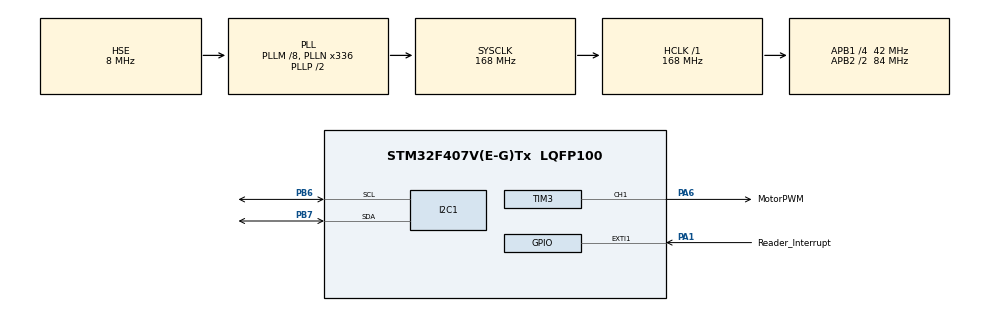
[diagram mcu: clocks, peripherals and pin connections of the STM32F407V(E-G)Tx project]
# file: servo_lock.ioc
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I2C1.I2C_Mode=I2C_Standard
Mcu.Family=STM32F4
Mcu.Name=STM32F407V(E-G)Tx
Mcu.Package=LQFP100
NVIC.EXTI1_IRQn=true\:0\:0\:false\:false\:true\:true\:true\:true
NVIC.PriorityGroup=NVIC_PRIORITYGROUP_0
PA1.GPIO_Label=Reader_Interrupt
PA1.Signal=GPXTI1
PA6.GPIO_Label=MotorPWM
PA6.GPIO_ModeDefaultPP=GPIO_MODE_AF_PP
PA6.Signal=S_TIM3_CH1
PB6.Mode=I2C
PB6.Signal=I2C1_SCL
PB7.Mode=I2C
PB7.Signal=I2C1_SDA
PC14-OSC32_IN.Mode=LSE-External-Oscillator
PC14-OSC32_IN.Signal=RCC_OSC32_IN
PC15-OSC32_OUT.Mode=LSE-External-Oscillator
PC15-OSC32_OUT.Signal=RCC_OSC32_OUT
PH0-OSC_IN.Mode=HSE-External-Oscillator
PH0-OSC_IN.Signal=RCC_OSC_IN
PH1-OSC_OUT.Mode=HSE-External-Oscillator
PH1-OSC_OUT.Signal=RCC_OSC_OUT
ProjectManager.HeapSize=0x200
ProjectManager.StackSize=0x400
ProjectManager.TargetToolchain=STM32CubeIDE
RCC.48MHZClocksFreq_Value=48000000
RCC.AHBFreq_Value=168000000
RCC.APB1CLKDivider=RCC_HCLK_DIV4
RCC.APB1Freq_Value=42000000
RCC.APB1TimFreq_Value=84000000
RCC.APB2CLKDivider=RCC_HCLK_DIV2
RCC.APB2Freq_Value=84000000
RCC.APB2TimFreq_Value=168000000
RCC.CortexFreq_Value=168000000
RCC.HCLKFreq_Value=168000000
RCC.HSE_VALUE=8000000
RCC.HSI_VALUE=16000000
RCC.PLLM=8
RCC.PLLN=336
RCC.PLLQ=7
RCC.PLLSourceVirtual=RCC_PLLSOURCE_HSE
RCC.SYSCLKFreq_VALUE=168000000
RCC.SYSCLKSource=RCC_SYSCLKSOURCE_PLLCLK
RCC.VCOOutputFreq_Value=336000000
SH.S_TIM3_CH1.0=TIM3_CH1,PWM Generation1 CH1
TIM3.AutoReloadPreload=TIM_AUTORELOAD_PRELOAD_ENABLE
TIM3.Channel-PWM\ Generation1\ CH1=TIM_CHANNEL_1
TIM3.Prescaler=1680
TIM3.Pulse-PWM\ Generation1\ CH1=500
TIM3.TIM_MasterOutputTrigger=TIM_TRGO_RESET
VP_TIM3_VS_ClockSourceINT.Mode=Internal
board=STM32F407G-DISC1

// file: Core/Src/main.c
/* USER CODE BEGIN Header */
/**
  ******************************************************************************
  * @file           : main.c
  * @brief          : Main program body
  ******************************************************************************
  * @attention
  *
  * Copyright (c) 2023 STMicroelectronics.
  * All rights reserved.
  *
  * This software is licensed under terms that can be found in the LICENSE file
  * in the root directory of this software component.
  * If no LICENSE file comes with this software, it is provided AS-IS.
  *
  ******************************************************************************
  */
/* USER CODE END Header */
#include "main.h"

/* USER CODE BEGIN Includes */
#include "helper_functions.h"
/* USER CODE END Includes */

I2C_HandleTypeDef hi2c1;

TIM_HandleTypeDef htim3;

/* USER CODE BEGIN PV */
PN532 pn532;
uint8_t version_buffer[256];
uint8_t uid_buffer[MIFARE_UID_MAX_LENGTH];
/* USER CODE END PV */

void SystemClock_Config(void);
static void MX_GPIO_Init(void);
static void MX_I2C1_Init(void);
static void MX_TIM3_Init(void);

/* USER CODE BEGIN 0 */
int check=0;
uint8_t interrupt_checker = 0;
uint8_t status_success_query = 0x00;
uint8_t debounce = 0;
/* USER CODE END 0 */

int main(void)
{

  /* MCU Configuration--------------------------------------------------------*/

  /* Reset of all peripherals, Initializes the Flash interface and the Systick. */
  HAL_Init();

  /* Configure the system clock */
  SystemClock_Config();

  /* Initialize all configured peripherals */
  MX_GPIO_Init();
  MX_I2C1_Init();
  MX_TIM3_Init();
  /* USER CODE BEGIN 2 */
  HAL_TIM_PWM_Start(&htim3, TIM_CHANNEL_1);

  check = RFID_Init(&pn532, version_buffer);
  /* USER CODE END 2 */

  /* Infinite loop */
  /* USER CODE BEGIN WHILE */
  while (1)
  {
	  status_success_query = validation_check(&interrupt_checker, uid_buffer);
    /* USER CODE END WHILE */

  }
}

void SystemClock_Config(void)
{
  RCC_OscInitTypeDef RCC_OscInitStruct = {0};
  RCC_ClkInitTypeDef RCC_ClkInitStruct = {0};

  /** Configure the main internal regulator output voltage
  */
  __HAL_RCC_PWR_CLK_ENABLE();
  __HAL_PWR_VOLTAGESCALING_CONFIG(PWR_REGULATOR_VOLTAGE_SCALE1);

  /** Initializes the RCC Oscillators according to the specified parameters
  * in the RCC_OscInitTypeDef structure.
  */
  RCC_OscInitStruct.OscillatorType = RCC_OSCILLATORTYPE_HSE;
  RCC_OscInitStruct.HSEState = RCC_HSE_ON;
  RCC_OscInitStruct.PLL.PLLState = RCC_PLL_ON;
  RCC_OscInitStruct.PLL.PLLSource = RCC_PLLSOURCE_HSE;
  RCC_OscInitStruct.PLL.PLLM = 8;
  RCC_OscInitStruct.PLL.PLLN = 336;
  RCC_OscInitStruct.PLL.PLLP = RCC_PLLP_DIV2;
  RCC_OscInitStruct.PLL.PLLQ = 7;
  if (HAL_RCC_OscConfig(&RCC_OscInitStruct) != HAL_OK)
  {
    Error_Handler();
  }

  /** Initializes the CPU, AHB and APB buses clocks
  */
  RCC_ClkInitStruct.ClockType = RCC_CLOCKTYPE_HCLK|RCC_CLOCKTYPE_SYSCLK
                              |RCC_CLOCKTYPE_PCLK1|RCC_CLOCKTYPE_PCLK2;
  RCC_ClkInitStruct.SYSCLKSource = RCC_SYSCLKSOURCE_PLLCLK;
  RCC_ClkInitStruct.AHBCLKDivider = RCC_SYSCLK_DIV1;
  RCC_ClkInitStruct.APB1CLKDivider = RCC_HCLK_DIV4;
  RCC_ClkInitStruct.APB2CLKDivider = RCC_HCLK_DIV2;

  if (HAL_RCC_ClockConfig(&RCC_ClkInitStruct, FLASH_LATENCY_5) != HAL_OK)
  {
    Error_Handler();
  }
}

static void MX_I2C1_Init(void)
{

  hi2c1.Instance = I2C1;
  hi2c1.Init.ClockSpeed = 100000;
  hi2c1.Init.DutyCycle = I2C_DUTYCYCLE_2;
  hi2c1.Init.OwnAddress1 = 0;
  hi2c1.Init.AddressingMode = I2C_ADDRESSINGMODE_7BIT;
  hi2c1.Init.DualAddressMode = I2C_DUALADDRESS_DISABLE;
  hi2c1.Init.OwnAddress2 = 0;
  hi2c1.Init.GeneralCallMode = I2C_GENERALCALL_DISABLE;
  hi2c1.Init.NoStretchMode = I2C_NOSTRETCH_DISABLE;
  if (HAL_I2C_Init(&hi2c1) != HAL_OK)
  {
    Error_Handler();
  }

}

static void MX_TIM3_Init(void)
{

  TIM_ClockConfigTypeDef sClockSourceConfig = {0};
  TIM_MasterConfigTypeDef sMasterConfig = {0};
  TIM_OC_InitTypeDef sConfigOC = {0};

  htim3.Instance = TIM3;
  htim3.Init.Prescaler = 1680 - 1;
  htim3.Init.CounterMode = TIM_COUNTERMODE_UP;
  htim3.Init.Period = 2000;
  htim3.Init.ClockDivision = TIM_CLOCKDIVISION_DIV1;
  htim3.Init.AutoReloadPreload = TIM_AUTORELOAD_PRELOAD_ENABLE;
  if (HAL_TIM_Base_Init(&htim3) != HAL_OK)
  {
    Error_Handler();
  }
  sClockSourceConfig.ClockSource = TIM_CLOCKSOURCE_INTERNAL;
  if (HAL_TIM_ConfigClockSource(&htim3, &sClockSourceConfig) != HAL_OK)
  {
    Error_Handler();
  }
  if (HAL_TIM_PWM_Init(&htim3) != HAL_OK)
  {
    Error_Handler();
  }
  sMasterConfig.MasterOutputTrigger = TIM_TRGO_RESET;
  sMasterConfig.MasterSlaveMode = TIM_MASTERSLAVEMODE_DISABLE;
  if (HAL_TIMEx_MasterConfigSynchronization(&htim3, &sMasterConfig) != HAL_OK)
  {
    Error_Handler();
  }
  sConfigOC.OCMode = TIM_OCMODE_PWM1;
  sConfigOC.Pulse = 0;
  sConfigOC.OCPolarity = TIM_OCPOLARITY_HIGH;
  sConfigOC.OCFastMode = TIM_OCFAST_DISABLE;
  if (HAL_TIM_PWM_ConfigChannel(&htim3, &sConfigOC, TIM_CHANNEL_1) != HAL_OK)
  {
    Error_Handler();
  }
  HAL_TIM_MspPostInit(&htim3);

}

static void MX_GPIO_Init(void)
{
  GPIO_InitTypeDef GPIO_InitStruct = {0};

  /* GPIO Ports Clock Enable */
  __HAL_RCC_GPIOC_CLK_ENABLE();
  __HAL_RCC_GPIOH_CLK_ENABLE();
  __HAL_RCC_GPIOA_CLK_ENABLE();
  __HAL_RCC_GPIOB_CLK_ENABLE();

  /*Configure GPIO pin : Reader_Interrupt_Pin */
  GPIO_InitStruct.Pin = Reader_Interrupt_Pin;
  GPIO_InitStruct.Mode = GPIO_MODE_IT_RISING;
  GPIO_InitStruct.Pull = GPIO_NOPULL;
  HAL_GPIO_Init(Reader_Interrupt_GPIO_Port, &GPIO_InitStruct);

  /* EXTI interrupt init*/
  HAL_NVIC_SetPriority(EXTI1_IRQn, 0, 0);
  HAL_NVIC_EnableIRQ(EXTI1_IRQn);

}

/* USER CODE BEGIN 4 */
void HAL_GPIO_EXTI_Callback(uint16_t GPIO_Pin)
{
	if(GPIO_Pin == Reader_Interrupt_Pin && debounce == 0)
	{
		debounce++;
		interrupt_checker = READER_INTERRUPTED;
	}
}
/* USER CODE END 4 */

void Error_Handler(void)
{
  __disable_irq();
  while (1)
  {
  }
}
